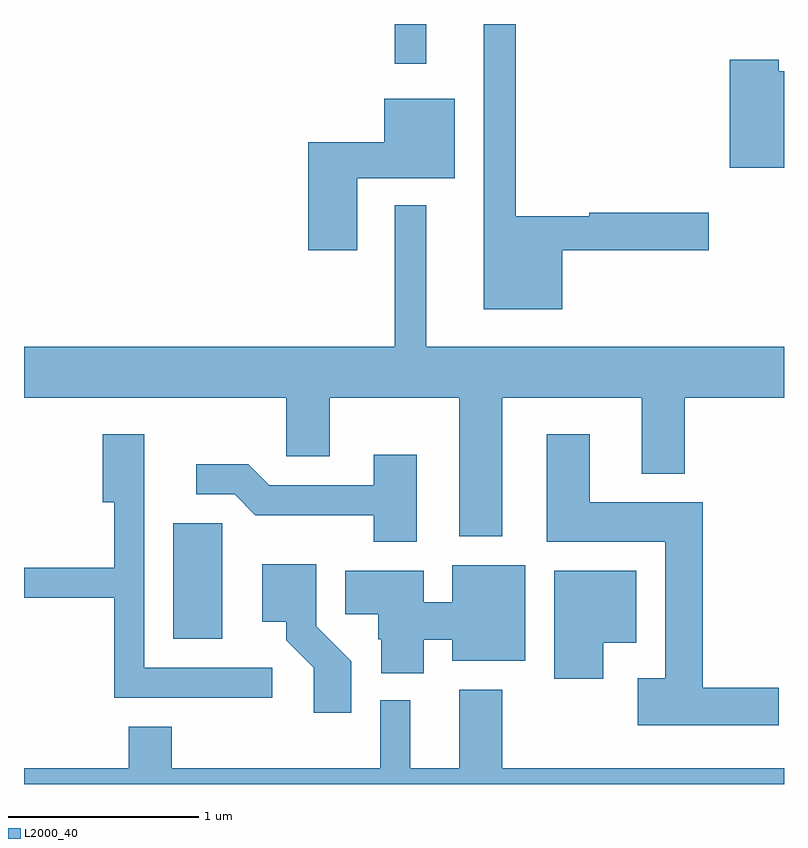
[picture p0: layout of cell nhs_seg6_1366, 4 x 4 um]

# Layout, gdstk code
import gdstk
lib = gdstk.Library(unit=1e-6, precision=1e-09)
def R(c, l, rs):  # rectangles x0, y0, x1, y1
    for r in rs: c.add(gdstk.rectangle(r[:2], r[2:], *l))
def P(c, l, *ps):  # polygons
    for p in ps: c.add(gdstk.Polygon(p, *l))
L2000_40 = (2000, 40)

nhs_seg6_1366 = lib.new_cell('nhs_seg6_1366')
R(nhs_seg6_1366, L2000_40, [(226.396,1610.926,226.654,1611.534), (227.561,1613.953,227.729,1614.162)])
P(nhs_seg6_1366, L2000_40, [(228.444,1612.971),(229.214,1612.971),(229.214,1613.169),(228.586,1613.169),(228.586,1613.149),(228.199,1613.149),(228.199,1614.162),(228.031,1614.162),(228.031,1612.661),(228.444,1612.661)],
  [(229.611,1613.914),(229.584,1613.914),(229.584,1613.974),(229.326,1613.974),(229.326,1613.406),(229.611,1613.406)],
  [(227.364,1613.351),(227.879,1613.351),(227.879,1613.769),(227.506,1613.769),(227.506,1613.539),(227.106,1613.539),(227.106,1612.971),(227.364,1612.971)],
  [(225.611,1612.196),(226.991,1612.196),(226.991,1611.886),(227.219,1611.886),(227.219,1612.196),(227.901,1612.196),(227.901,1611.466),(228.129,1611.466),(228.129,1612.196),(228.861,1612.196),(228.861,1611.796),(229.089,1611.796),(229.089,1612.196),(229.611,1612.196),(229.611,1612.464),(227.729,1612.464),(227.729,1613.208),(227.561,1613.208),(227.561,1612.464),(225.611,1612.464)],
  [(229.584,1610.669),(229.184,1610.669),(229.184,1611.644),(228.589,1611.644),(228.589,1612.004),(228.361,1612.004),(228.361,1611.436),(228.986,1611.436),(228.986,1610.719),(228.841,1610.719),(228.841,1610.471),(229.584,1610.471)],
  [(226.918,1610.774),(226.244,1610.774),(226.244,1612.004),(226.026,1612.004),(226.026,1611.646),(226.086,1611.646),(226.086,1611.299),(225.611,1611.299),(225.611,1611.141),(226.086,1611.141),(226.086,1610.616),(226.918,1610.616)],
  [(227.679,1611.894),(227.451,1611.894),(227.451,1611.734),(226.902,1611.734),(226.792,1611.844),(226.518,1611.844),(226.518,1611.686),(226.719,1611.686),(226.829,1611.576),(227.451,1611.576),(227.451,1611.436),(227.679,1611.436)],
  [(227.334,1610.807),(227.149,1610.992),(227.149,1611.319),(226.866,1611.319),(226.866,1611.016),(226.991,1611.016),(226.991,1610.919),(227.136,1610.774),(227.136,1610.536),(227.334,1610.536)],
  [(227.714,1610.921),(227.866,1610.921),(227.866,1610.811),(228.249,1610.811),(228.249,1611.314),(227.866,1611.314),(227.866,1611.119),(227.714,1611.119),(227.714,1611.284),(227.301,1611.284),(227.301,1611.056),(227.476,1611.056),(227.476,1610.925),(227.491,1610.925),(227.491,1610.746),(227.714,1610.746)],
  [(228.659,1610.906),(228.834,1610.906),(228.834,1611.284),(228.401,1611.284),(228.401,1610.716),(228.659,1610.716)],
  [(229.611,1610.244),(228.129,1610.244),(228.129,1610.659),(227.901,1610.659),(227.901,1610.244),(227.644,1610.244),(227.644,1610.603),(227.486,1610.603),(227.486,1610.244),(226.389,1610.244),(226.389,1610.464),(226.161,1610.464),(226.161,1610.244),(225.611,1610.244),(225.611,1610.162),(229.611,1610.162)])

lib.write_gds('nhs_seg6_1366.gds')
